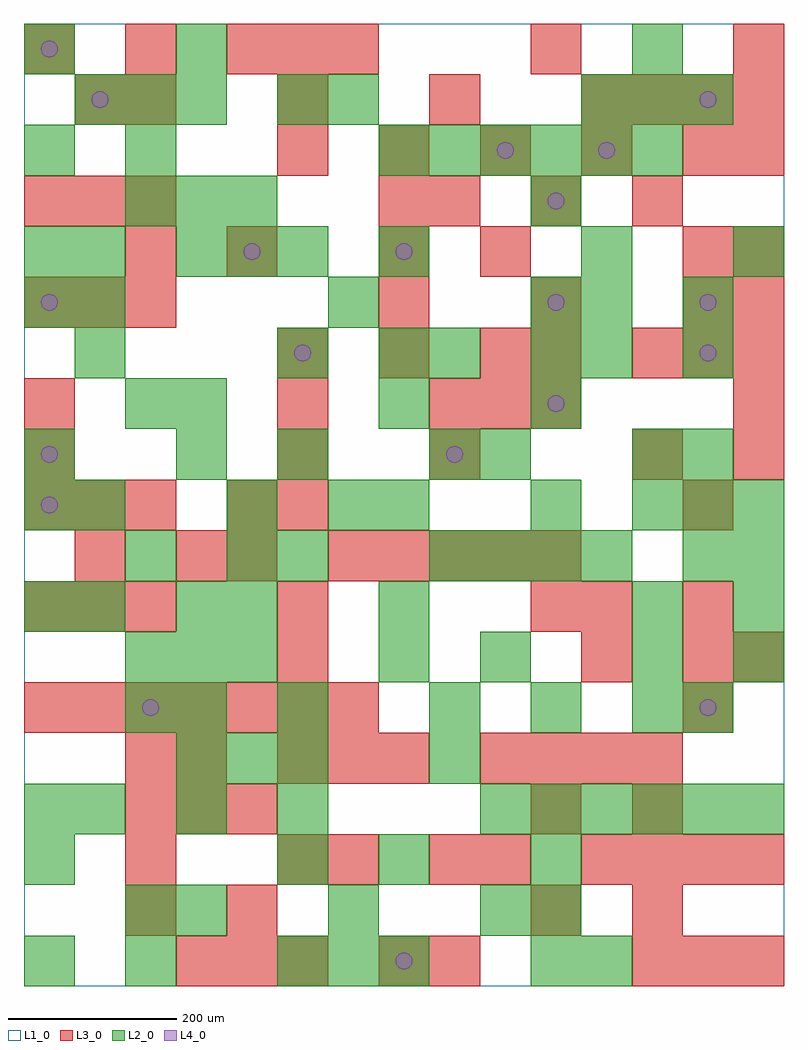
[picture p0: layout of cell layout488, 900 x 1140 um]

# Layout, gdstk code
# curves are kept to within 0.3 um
import gdstk
lib = gdstk.Library(unit=1e-6, precision=1e-09)
def R(c, l, rs):  # rectangles x0, y0, x1, y1
    for r in rs: c.add(gdstk.rectangle(r[:2], r[2:], *l))
def A(c, l, x, y, w, h, nx, ny, dx, dy):  # array of equal rectangles
    R(c, l, [(x+i*dx, y+j*dy, x+i*dx+w, y+j*dy+h) for i in range(nx) for j in range(ny)])
def P(c, l, *ps):  # polygons
    for p in ps: c.add(gdstk.Polygon(p, *l))
L1_0 = (1, 0)
L2_0 = (2, 0)
L3_0 = (3, 0)
L4_0 = (4, 0)

layout488 = lib.new_cell('layout488')
R(layout488, L1_0, [(0,0,900,1140)])
A(layout488, L2_0, 300, 0, 60, 60, 3, 1, 60, 0)
A(layout488, L2_0, 600, 0, 60, 60, 1, 3, 0, 60)
A(layout488, L2_0, 180, 60, 60, 60, 3, 1, 180, 0)
A(layout488, L2_0, 300, 120, 60, 60, 1, 3, 0, 180)
A(layout488, L2_0, 60, 180, 60, 60, 3, 1, 120, 0)
A(layout488, L2_0, 540, 180, 60, 60, 6, 1, 60, 0)
A(layout488, L2_0, 180, 240, 60, 60, 3, 2, 60, 600)
A(layout488, L2_0, 120, 300, 60, 60, 1, 3, 0, 180)
A(layout488, L2_0, 480, 300, 60, 60, 3, 1, 120, 0)
A(layout488, L2_0, 120, 360, 60, 60, 3, 2, 60, 540)
A(layout488, L2_0, 840, 360, 60, 60, 1, 3, 0, 60)
A(layout488, L2_0, 240, 420, 60, 60, 1, 3, 0, 60)
A(layout488, L2_0, 420, 420, 60, 60, 1, 3, 0, 120)
A(layout488, L2_0, 480, 480, 60, 60, 4, 1, 60, 0)
A(layout488, L2_0, 780, 480, 60, 60, 1, 3, 0, 120)
A(layout488, L2_0, 360, 540, 60, 60, 1, 3, 0, 240)
A(layout488, L2_0, 720, 540, 60, 60, 3, 1, 60, 0)
A(layout488, L2_0, 600, 660, 60, 60, 1, 3, 0, 60)
A(layout488, L2_0, 60, 720, 60, 60, 1, 3, 0, 60)
A(layout488, L2_0, 660, 720, 60, 60, 1, 3, 0, 60)
A(layout488, L2_0, 0, 840, 60, 60, 1, 3, 0, 120)
A(layout488, L2_0, 420, 960, 60, 60, 6, 1, 60, 0)
A(layout488, L2_0, 60, 1020, 60, 60, 3, 1, 60, 0)
A(layout488, L2_0, 660, 1020, 60, 60, 3, 1, 60, 0)
R(layout488, L2_0, [(0,0,60,60), (120,0,180,60), (660,0,720,60), (120,60,180,120), (0,120,60,180), (420,120,480,180), (0,180,60,240), (480,240,540,300), (180,300,240,360), (780,300,840,360), (420,360,480,420), (540,360,600,420), (720,360,780,420), (0,420,60,480), (60,420,120,480), (180,420,240,480), (720,420,780,480), (0,540,60,600), (60,540,120,600), (600,540,660,600), (0,600,60,660), (180,600,240,660), (300,600,360,660), (480,600,540,660), (540,600,600,660), (720,600,780,660), (180,660,240,720), (300,720,360,780), (420,720,480,780), (480,720,540,780), (0,780,60,840), (780,780,840,840), (420,840,480,900), (840,840,900,900), (600,900,660,960), (120,960,180,1020), (300,1020,360,1080), (180,1080,240,1140), (720,1080,780,1140)])
A(layout488, L3_0, 180, 0, 60, 60, 3, 1, 60, 0)
A(layout488, L3_0, 720, 0, 60, 60, 3, 2, 60, 720)
A(layout488, L3_0, 660, 120, 60, 60, 4, 1, 60, 0)
A(layout488, L3_0, 120, 180, 60, 60, 3, 1, 60, 0)
A(layout488, L3_0, 300, 240, 60, 60, 3, 1, 60, 0)
A(layout488, L3_0, 540, 240, 60, 60, 4, 1, 60, 0)
A(layout488, L3_0, 0, 300, 60, 60, 7, 1, 60, 0)
A(layout488, L3_0, 780, 300, 60, 60, 1, 3, 0, 60)
A(layout488, L3_0, 0, 420, 60, 60, 3, 2, 60, 120)
A(layout488, L3_0, 360, 480, 60, 60, 5, 1, 60, 0)
A(layout488, L3_0, 300, 540, 60, 60, 1, 3, 0, 60)
A(layout488, L3_0, 480, 660, 60, 60, 3, 1, 60, 0)
A(layout488, L3_0, 300, 720, 60, 60, 3, 1, 120, 0)
A(layout488, L3_0, 0, 780, 60, 60, 3, 2, 60, 120)
A(layout488, L3_0, 420, 780, 60, 60, 3, 1, 180, 0)
A(layout488, L3_0, 480, 900, 60, 60, 3, 1, 120, 0)
A(layout488, L3_0, 300, 960, 60, 60, 5, 1, 120, 0)
A(layout488, L3_0, 120, 1020, 60, 60, 4, 1, 180, 0)
A(layout488, L3_0, 720, 1020, 60, 60, 3, 1, 60, 0)
A(layout488, L3_0, 0, 1080, 60, 60, 3, 1, 120, 0)
A(layout488, L3_0, 360, 1080, 60, 60, 3, 1, 240, 0)
R(layout488, L3_0, [(420,0,480,60), (480,0,540,60), (120,60,180,120), (240,60,300,120), (600,60,660,120), (720,60,780,120), (120,120,180,180), (300,120,360,180), (360,120,420,180), (480,120,540,180), (540,120,600,180), (600,180,660,240), (720,180,780,240), (120,240,180,300), (180,240,240,300), (300,360,360,420), (660,360,720,420), (840,360,900,420), (300,420,360,480), (600,420,660,480), (660,420,720,480), (60,480,120,540), (180,480,240,540), (240,480,300,540), (240,540,300,600), (780,540,840,600), (0,600,60,660), (480,600,540,660), (720,600,780,660), (840,600,900,660), (0,660,60,720), (840,660,900,720), (600,720,660,780), (840,780,900,840), (120,840,180,900), (240,840,300,900), (420,840,480,900), (540,840,600,900), (780,840,840,900), (840,840,900,900), (420,900,480,960), (840,960,900,1020), (60,1020,120,1080), (300,1080,360,1140)])
P(layout488, L4_0, [(40,570),(39.239,573.827),(37.071,577.071),(33.827,579.239),(30,580),(26.173,579.239),(22.929,577.071),(20.761,573.827),(20,570),(20.761,566.173),(22.929,562.929),(26.173,560.761),(30,560),(33.827,560.761),(37.071,562.929),(39.239,566.173)],
  [(40,630),(39.239,633.827),(37.071,637.071),(33.827,639.239),(30,640),(26.173,639.239),(22.929,637.071),(20.761,633.827),(20,630),(20.761,626.173),(22.929,622.929),(26.173,620.761),(30,620),(33.827,620.761),(37.071,622.929),(39.239,626.173)],
  [(40,810),(39.239,813.827),(37.071,817.071),(33.827,819.239),(30,820),(26.173,819.239),(22.929,817.071),(20.761,813.827),(20,810),(20.761,806.173),(22.929,802.929),(26.173,800.761),(30,800),(33.827,800.761),(37.071,802.929),(39.239,806.173)],
  [(40,1110),(39.239,1113.827),(37.071,1117.071),(33.827,1119.239),(30,1120),(26.173,1119.239),(22.929,1117.071),(20.761,1113.827),(20,1110),(20.761,1106.173),(22.929,1102.929),(26.173,1100.761),(30,1100),(33.827,1100.761),(37.071,1102.929),(39.239,1106.173)],
  [(100,1050),(99.239,1053.827),(97.071,1057.071),(93.827,1059.239),(90,1060),(86.173,1059.239),(82.929,1057.071),(80.761,1053.827),(80,1050),(80.761,1046.173),(82.929,1042.929),(86.173,1040.761),(90,1040),(93.827,1040.761),(97.071,1042.929),(99.239,1046.173)],
  [(160,330),(159.239,333.827),(157.071,337.071),(153.827,339.239),(150,340),(146.173,339.239),(142.929,337.071),(140.761,333.827),(140,330),(140.761,326.173),(142.929,322.929),(146.173,320.761),(150,320),(153.827,320.761),(157.071,322.929),(159.239,326.173)],
  [(280,870),(279.239,873.827),(277.071,877.071),(273.827,879.239),(270,880),(266.173,879.239),(262.929,877.071),(260.761,873.827),(260,870),(260.761,866.173),(262.929,862.929),(266.173,860.761),(270,860),(273.827,860.761),(277.071,862.929),(279.239,866.173)],
  [(340,750),(339.239,753.827),(337.071,757.071),(333.827,759.239),(330,760),(326.173,759.239),(322.929,757.071),(320.761,753.827),(320,750),(320.761,746.173),(322.929,742.929),(326.173,740.761),(330,740),(333.827,740.761),(337.071,742.929),(339.239,746.173)],
  [(460,30),(459.239,33.827),(457.071,37.071),(453.827,39.239),(450,40),(446.173,39.239),(442.929,37.071),(440.761,33.827),(440,30),(440.761,26.173),(442.929,22.929),(446.173,20.761),(450,20),(453.827,20.761),(457.071,22.929),(459.239,26.173)],
  [(460,870),(459.239,873.827),(457.071,877.071),(453.827,879.239),(450,880),(446.173,879.239),(442.929,877.071),(440.761,873.827),(440,870),(440.761,866.173),(442.929,862.929),(446.173,860.761),(450,860),(453.827,860.761),(457.071,862.929),(459.239,866.173)],
  [(520,630),(519.239,633.827),(517.071,637.071),(513.827,639.239),(510,640),(506.173,639.239),(502.929,637.071),(500.761,633.827),(500,630),(500.761,626.173),(502.929,622.929),(506.173,620.761),(510,620),(513.827,620.761),(517.071,622.929),(519.239,626.173)],
  [(580,990),(579.239,993.827),(577.071,997.071),(573.827,999.239),(570,1000),(566.173,999.239),(562.929,997.071),(560.761,993.827),(560,990),(560.761,986.173),(562.929,982.929),(566.173,980.761),(570,980),(573.827,980.761),(577.071,982.929),(579.239,986.173)],
  [(640,690),(639.239,693.827),(637.071,697.071),(633.827,699.239),(630,700),(626.173,699.239),(622.929,697.071),(620.761,693.827),(620,690),(620.761,686.173),(622.929,682.929),(626.173,680.761),(630,680),(633.827,680.761),(637.071,682.929),(639.239,686.173)],
  [(640,810),(639.239,813.827),(637.071,817.071),(633.827,819.239),(630,820),(626.173,819.239),(622.929,817.071),(620.761,813.827),(620,810),(620.761,806.173),(622.929,802.929),(626.173,800.761),(630,800),(633.827,800.761),(637.071,802.929),(639.239,806.173)],
  [(640,930),(639.239,933.827),(637.071,937.071),(633.827,939.239),(630,940),(626.173,939.239),(622.929,937.071),(620.761,933.827),(620,930),(620.761,926.173),(622.929,922.929),(626.173,920.761),(630,920),(633.827,920.761),(637.071,922.929),(639.239,926.173)],
  [(700,990),(699.239,993.827),(697.071,997.071),(693.827,999.239),(690,1000),(686.173,999.239),(682.929,997.071),(680.761,993.827),(680,990),(680.761,986.173),(682.929,982.929),(686.173,980.761),(690,980),(693.827,980.761),(697.071,982.929),(699.239,986.173)],
  [(820,330),(819.239,333.827),(817.071,337.071),(813.827,339.239),(810,340),(806.173,339.239),(802.929,337.071),(800.761,333.827),(800,330),(800.761,326.173),(802.929,322.929),(806.173,320.761),(810,320),(813.827,320.761),(817.071,322.929),(819.239,326.173)],
  [(820,750),(819.239,753.827),(817.071,757.071),(813.827,759.239),(810,760),(806.173,759.239),(802.929,757.071),(800.761,753.827),(800,750),(800.761,746.173),(802.929,742.929),(806.173,740.761),(810,740),(813.827,740.761),(817.071,742.929),(819.239,746.173)],
  [(820,810),(819.239,813.827),(817.071,817.071),(813.827,819.239),(810,820),(806.173,819.239),(802.929,817.071),(800.761,813.827),(800,810),(800.761,806.173),(802.929,802.929),(806.173,800.761),(810,800),(813.827,800.761),(817.071,802.929),(819.239,806.173)],
  [(820,1050),(819.239,1053.827),(817.071,1057.071),(813.827,1059.239),(810,1060),(806.173,1059.239),(802.929,1057.071),(800.761,1053.827),(800,1050),(800.761,1046.173),(802.929,1042.929),(806.173,1040.761),(810,1040),(813.827,1040.761),(817.071,1042.929),(819.239,1046.173)])

lib.write_gds('layout488.gds')
